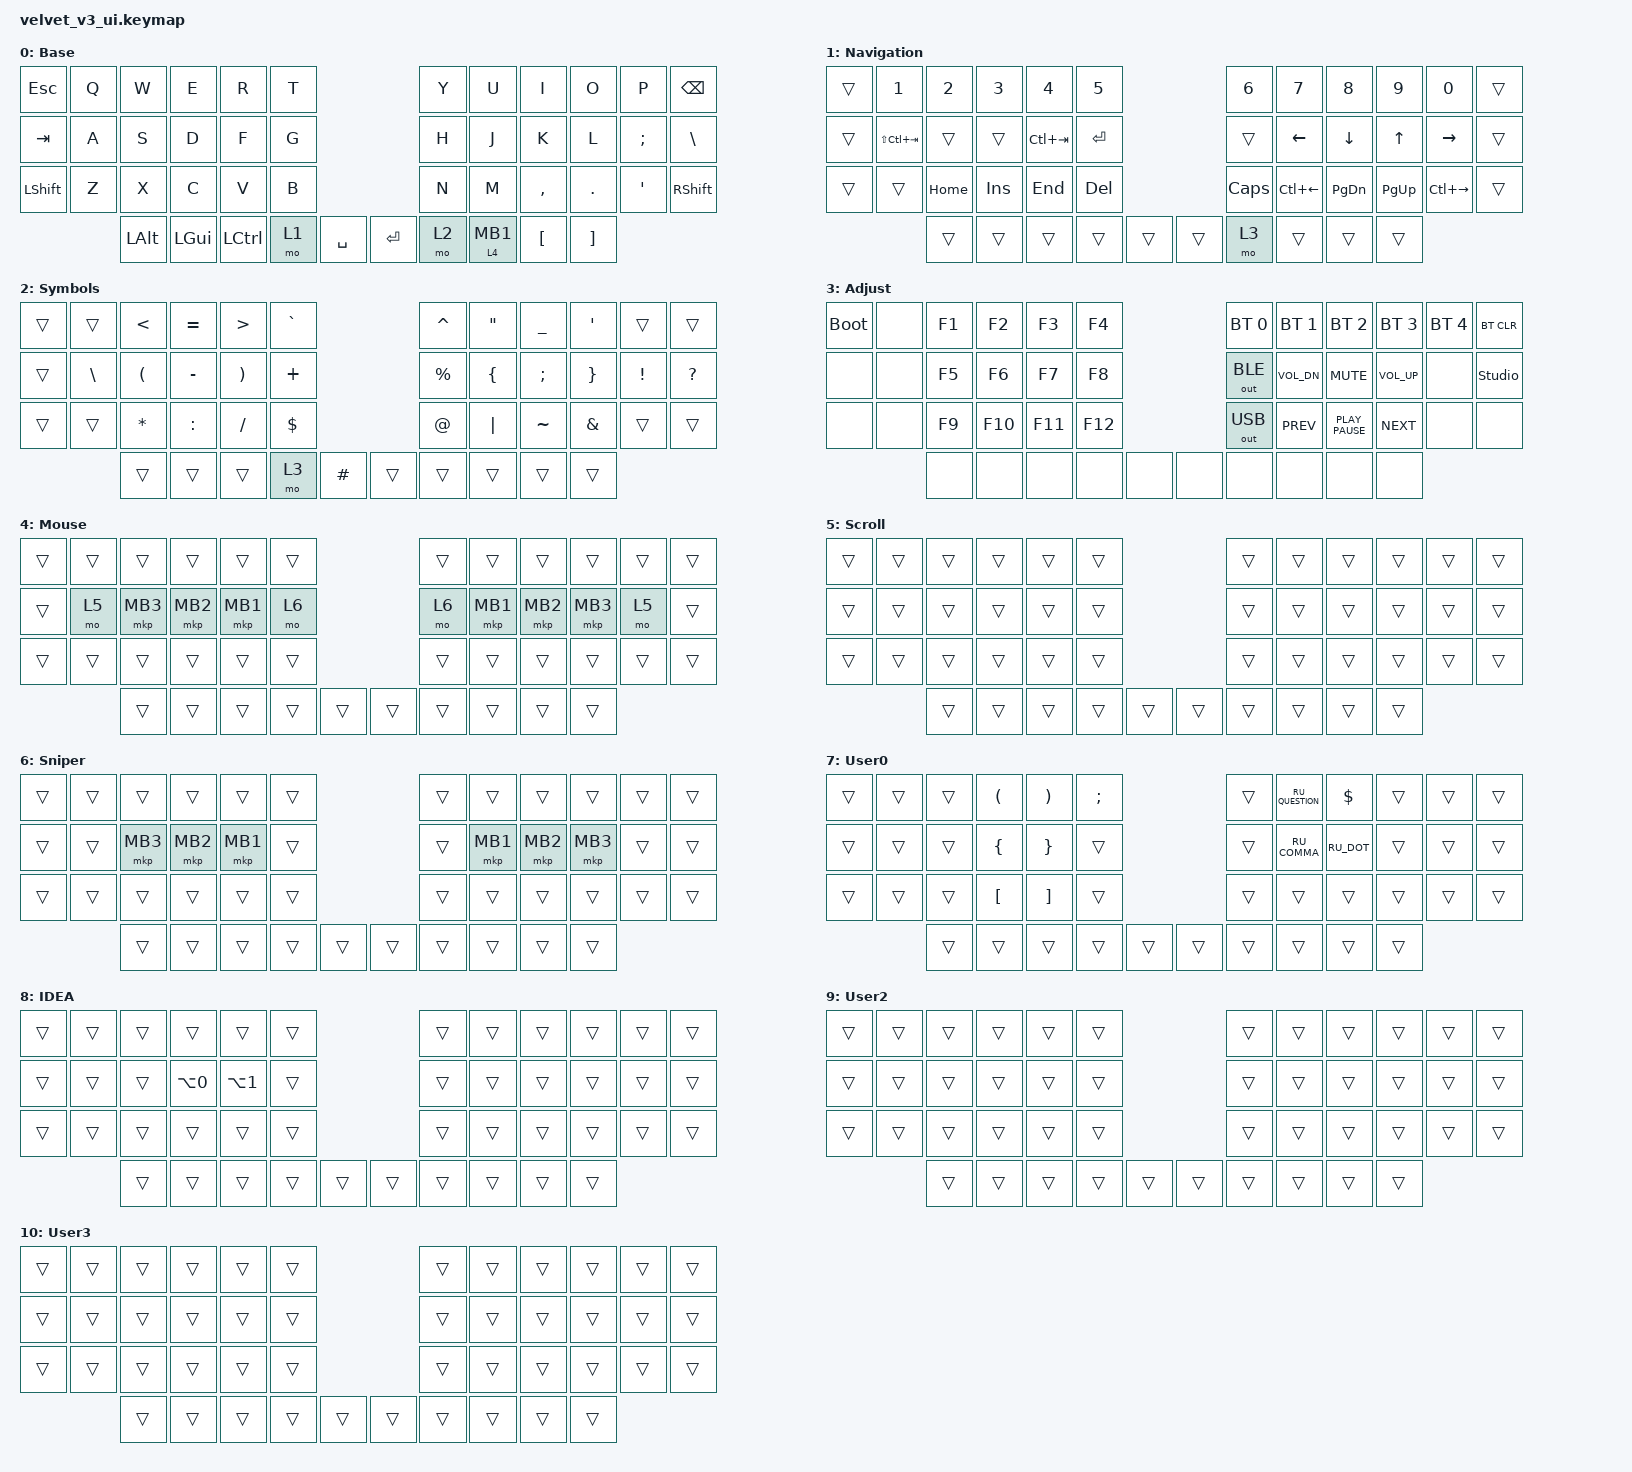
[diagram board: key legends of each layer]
#include "keys_ru.h"
#include <dt-bindings/zmk/input_transform.h>
#include <input/processors.dtsi>
#include <zephyr/dt-bindings/input/input-event-codes.h>
#include <behaviors.dtsi>
#include <dt-bindings/zmk/bt.h>
#include <dt-bindings/zmk/keys.h>
#include <dt-bindings/zmk/outputs.h>
#include <dt-bindings/zmk/pointing.h>

/ {
    behaviors {
        cap_sen: cap_sen {
            compatible = "zmk,behavior-hold-tap";
            label = "CAP_SEN";
            bindings = <&mo>, <&none>;

            #binding-cells = <2>;
            tapping-term-ms = <150>;
            hold-while-undecided;
        };
    };

    combos {
        compatible = "zmk,combos";

        lang {
            bindings = <&kp LG(SPACE)>;
            key-positions = <27 28>;
        };

        combo_idea {
            bindings = <&mo 8>;
            key-positions = <19 20>;
        };
    };

    macros {
        left_browse: left_browse {
            compatible = "zmk,behavior-macro";
            #binding-cells = <0>;
            bindings = <&kp LC(LS(TAB))>;
            label = "LEFT_BROWSE";
        };
    };

    keymap {
        compatible = "zmk,keymap";

        Base {
            bindings = <
&kp ESC    &kp Q  &kp W     &kp E     &kp R      &kp T                        &kp Y  &kp U           &kp I      &kp O     &kp P     &kp BSPC
&kp TAB    &kp A  &kp S     &kp D     &kp F      &kp G                        &kp H  &kp J           &kp K      &kp L     &kp SEMI  &kp BSLH
&kp LSHFT  &kp Z  &kp X     &kp C     &kp V      &kp B                        &kp N  &kp M           &kp COMMA  &kp DOT   &kp SQT   &kp RSHFT
                  &kp LALT  &kp LGUI  &kp LCTRL  &mo 1  &kp SPACE    &kp RET  &mo 2  &cap_sen 4 MB1  &kp LBKT   &kp RBKT
            >;

            display-name = "Base";
        };

        Navigation {
            bindings = <
&trans  &kp N1           &kp N2    &kp N3   &kp N4       &kp N5                     &kp N6    &kp N7        &kp N8         &kp N9       &kp N0         &trans
&trans  &kp LS(LC(TAB))  &trans    &trans   &kp LC(TAB)  &kp RET                    &trans    &kp LEFT      &kp DOWN       &kp UP       &kp RIGHT      &trans
&trans  &trans           &kp HOME  &kp INS  &kp END      &kp DEL                    &kp CLCK  &kp LC(LEFT)  &kp PAGE_DOWN  &kp PAGE_UP  &kp LC(RIGHT)  &trans
                         &trans    &trans   &trans       &trans   &trans    &trans  &mo 3     &trans        &trans         &trans
            >;

            display-name = "Navigation";
        };

        Symbols {
            bindings = <
&trans  &trans    &kp LT    &kp EQUAL  &kp GT    &kp GRAVE                      &kp CARET  &kp DQT   &kp UNDER  &kp SQT   &trans    &trans
&trans  &kp BSLH  &kp LPAR  &kp MINUS  &kp RPAR  &kp PLUS                       &kp PRCNT  &kp LBRC  &kp SEMI   &kp RBRC  &kp EXCL  &kp QUESTION
&trans  &trans    &kp STAR  &kp COLON  &kp FSLH  &kp DLLR                       &kp AT     &kp PIPE  &kp TILDE  &kp AMPS  &trans    &trans
                  &trans    &trans     &trans    &mo 3      &kp HASH    &trans  &trans     &trans    &trans     &trans
            >;

            display-name = "Symbols";
        };

        Adjust {
            bindings = <
&bootloader  &none  &kp F1  &kp F2   &kp F3   &kp F4                   &bt BT_SEL 0  &bt BT_SEL 1  &bt BT_SEL 2      &bt BT_SEL 3  &bt BT_SEL 4  &bt BT_CLR
&none        &none  &kp F5  &kp F6   &kp F7   &kp F8                   &out OUT_BLE  &kp C_VOL_DN  &kp K_MUTE        &kp C_VOL_UP  &none         &studio_unlock
&none        &none  &kp F9  &kp F10  &kp F11  &kp F12                  &out OUT_USB  &kp K_PREV    &kp K_PLAY_PAUSE  &kp K_NEXT    &none         &none
                    &none   &none    &none    &none    &none    &none  &none         &none         &none             &none
            >;

            display-name = "Adjust";
        };

        Mouse {
            bindings = <
&trans  &trans  &trans    &trans    &trans    &trans                    &trans  &trans    &trans    &trans    &trans  &trans
&trans  &mo 5   &mkp MB3  &mkp MB2  &mkp MB1  &mo 6                     &mo 6   &mkp MB1  &mkp MB2  &mkp MB3  &mo 5   &trans
&trans  &trans  &trans    &trans    &trans    &trans                    &trans  &trans    &trans    &trans    &trans  &trans
                &trans    &trans    &trans    &trans  &trans    &trans  &trans  &trans    &trans    &trans
            >;
        };

        Scroll {
            bindings = <
&trans  &trans  &trans  &trans  &trans  &trans                    &trans  &trans  &trans  &trans  &trans  &trans
&trans  &trans  &trans  &trans  &trans  &trans                    &trans  &trans  &trans  &trans  &trans  &trans
&trans  &trans  &trans  &trans  &trans  &trans                    &trans  &trans  &trans  &trans  &trans  &trans
                &trans  &trans  &trans  &trans  &trans    &trans  &trans  &trans  &trans  &trans
            >;
        };

        Sniper {
            bindings = <
&trans  &trans  &trans    &trans    &trans    &trans                    &trans  &trans    &trans    &trans    &trans  &trans
&trans  &trans  &mkp MB3  &mkp MB2  &mkp MB1  &trans                    &trans  &mkp MB1  &mkp MB2  &mkp MB3  &trans  &trans
&trans  &trans  &trans    &trans    &trans    &trans                    &trans  &trans    &trans    &trans    &trans  &trans
                &trans    &trans    &trans    &trans  &trans    &trans  &trans  &trans    &trans    &trans
            >;
        };

        User0 {
            bindings = <
&trans  &trans  &trans  &kp LEFT_PARENTHESIS  &kp RIGHT_PARENTHESIS  &kp SEMICOLON                    &trans  &kp RU_QUESTION  &kp DOLLAR  &trans  &trans  &trans
&trans  &trans  &trans  &kp LEFT_BRACE        &kp RIGHT_BRACE        &trans                           &trans  &kp RU_COMMA     &kp RU_DOT  &trans  &trans  &trans
&trans  &trans  &trans  &kp LEFT_BRACKET      &kp RIGHT_BRACKET      &trans                           &trans  &trans           &trans      &trans  &trans  &trans
                &trans  &trans                &trans                 &trans         &trans    &trans  &trans  &trans           &trans      &trans
            >;

            display-name = "User0";
        };

        IDEA {
            bindings = <
&trans  &trans  &trans  &trans            &trans            &trans                    &trans  &trans  &trans  &trans  &trans  &trans
&trans  &trans  &trans  &kp LA(NUMBER_0)  &kp LA(NUMBER_1)  &trans                    &trans  &trans  &trans  &trans  &trans  &trans
&trans  &trans  &trans  &trans            &trans            &trans                    &trans  &trans  &trans  &trans  &trans  &trans
                &trans  &trans            &trans            &trans  &trans    &trans  &trans  &trans  &trans  &trans
            >;

            display-name = "IDEA";
        };

        User2 {
            bindings = <
&trans  &trans  &trans  &trans  &trans  &trans                    &trans  &trans  &trans  &trans  &trans  &trans
&trans  &trans  &trans  &trans  &trans  &trans                    &trans  &trans  &trans  &trans  &trans  &trans
&trans  &trans  &trans  &trans  &trans  &trans                    &trans  &trans  &trans  &trans  &trans  &trans
                &trans  &trans  &trans  &trans  &trans    &trans  &trans  &trans  &trans  &trans
            >;

            display-name = "User2";
        };

        User3 {
            bindings = <
&trans  &trans  &trans  &trans  &trans  &trans                    &trans  &trans  &trans  &trans  &trans  &trans
&trans  &trans  &trans  &trans  &trans  &trans                    &trans  &trans  &trans  &trans  &trans  &trans
&trans  &trans  &trans  &trans  &trans  &trans                    &trans  &trans  &trans  &trans  &trans  &trans
                &trans  &trans  &trans  &trans  &trans    &trans  &trans  &trans  &trans  &trans
            >;

            display-name = "User3";
        };
    };
};

&trackball { cpi = <1000>; };

&trackball_listener {
    input-processors = <&zip_xy_scaler 9 20>;

    scroller {
        layers = <5>;
        input-processors =
            <&zip_xy_transform INPUT_TRANSFORM_Y_INVERT>,
            <&zip_xy_scaler 1 32>,
            <&zip_xy_to_scroll_mapper>;
    };

    sniper {
        layers = <6>;
        input-processors = <&zip_xy_scaler 1 4>;
    };
};
